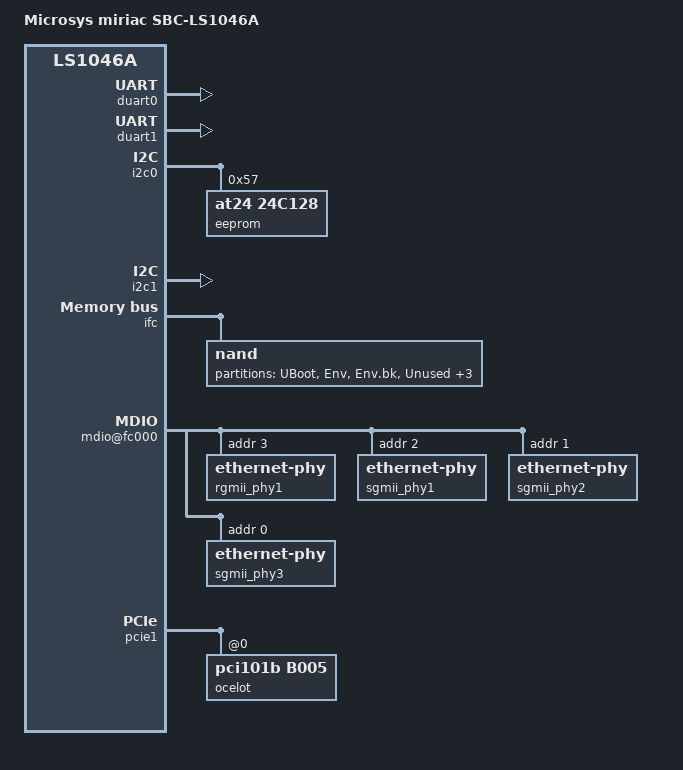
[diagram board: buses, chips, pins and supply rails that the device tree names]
// SPDX-License-Identifier: (GPL-2.0+ OR MIT)

/dts-v1/;

#include "fsl-ls1046a.dtsi"
#include "fsl-ls1046a-miriac-mpxls1046.dtsi"

/ {
	model = "Microsys miriac SBC-LS1046A";
	compatible = "microsys,sbc1046a", "microsys,mpxls1046a", "fsl,ls1046a";

	aliases {
		ethernet0 = &enet2;
		ethernet1 = &enet4;
		ethernet2 = &enet5;
		ethernet3 = &enet6;

		serial0 = &duart0;
		serial1 = &duart1;
		serial2 = &duart2;
		serial3 = &duart3;
	};

	chosen {
		stdout-path = "serial0:115200n8";
	};

	meba {
		board = "Jaguar2 pcb123 via PCI";
		pcb = "pcb123";
	};
};

&duart0 {
	status = "okay";
};

&duart1 {
	status = "okay";
};

&i2c0 {
	status = "okay";

	eeprom@57 {
		compatible = "at24,24c128";
		reg = <0x57>;
	};
};

&i2c1 {
	status = "okay";
};

&ifc {
	nand@0,0 {
		partition@0 {
			reg = <0x0 0x00100000>;
			label = "UBoot";
			read-only;
		};

		partition@100000 {
			reg = <0x00100000 0x00040000>;
			label = "Env";
		};

		partition@140000 {
			reg = <0x00140000 0x00040000>;
			label = "Env.bk";
		};

		partition@180000 {
			reg = <0x00180000 0x00080000>;
			label = "Unused";
		};

		partition@200000 {
			reg = <0x00200000 0x01400000>;
			label = "linux";
		};

		partition@1600000 {
			reg = <0x01600000 0x01400000>;
			label = "linux.bk";
		};

		partition@2a00000 {
			reg = <0x02a00000 0x1d600000>;
			label = "rootfs_nand_data";
		};
	};
};

#include "fsl-ls1046-post.dtsi"

&fman0 {
	compatible = "fsl,fman", "simple-bus";

	ethernet@e4000 {
		phy-handle = <&rgmii_phy1>;
		phy-connection-type = "rgmii";
	};

	ethernet@e8000 {
		phy-handle = <&sgmii_phy1>;
		phy-connection-type = "sgmii";
	};

	ethernet@ea000 {
		phy-handle = <&sgmii_phy2>;
		phy-connection-type = "sgmii";
	};

	ethernet@f0000 {
		phy-handle = <&sgmii_phy3>;
		phy-connection-type = "sgmii";
	};

	mdio@fc000 {
		rgmii_phy1: ethernet-phy@3 {
			reg = <3>;
		};

		sgmii_phy1: ethernet-phy@2 {
			reg = <2>;
		};

		sgmii_phy2: ethernet-phy@1 {
			reg = <1>;
		};

		sgmii_phy3: ethernet-phy@0 {
			reg = <0>;
		};
	};
};

&pcie1 {
	pci@0,0 {
		#address-cells = <3>;
		#size-cells = <2>;
		reg = <0 0 0 0 0>;
		device_type = "pci";
		ranges = <0x82000000 0x0 0x40000000 0x82000000 0x0 0x40000000 0 0x40000000>;

		ocelot: switch@0,0 {
			compatible = "pci101b,b005";

			reg = <0x0000 0 0 0 0>;
			#address-cells = <1>;
			#size-cells = <1>;
			ranges = <0x00000000 0x82000000 0x0 0x40000000 0x2000000>,
				 <0x20000000 0x82000000 0x0 0x42000000 0x0100000>;

			#interrupt-cells = <1>;
			interrupt-controller;
			interrupt-parent = <&ocelot>;

			ocelot_uio0: mscc_switch@0 {
				compatible = "generic-uio";
				reg = <0x0 0x2000000>;
			};

			ocelot_uio1: mscc_cpu@20000000 {
				compatible = "generic-uio";
				reg = <0x20000000  0x0100000>;
			};
		};
	};
};
